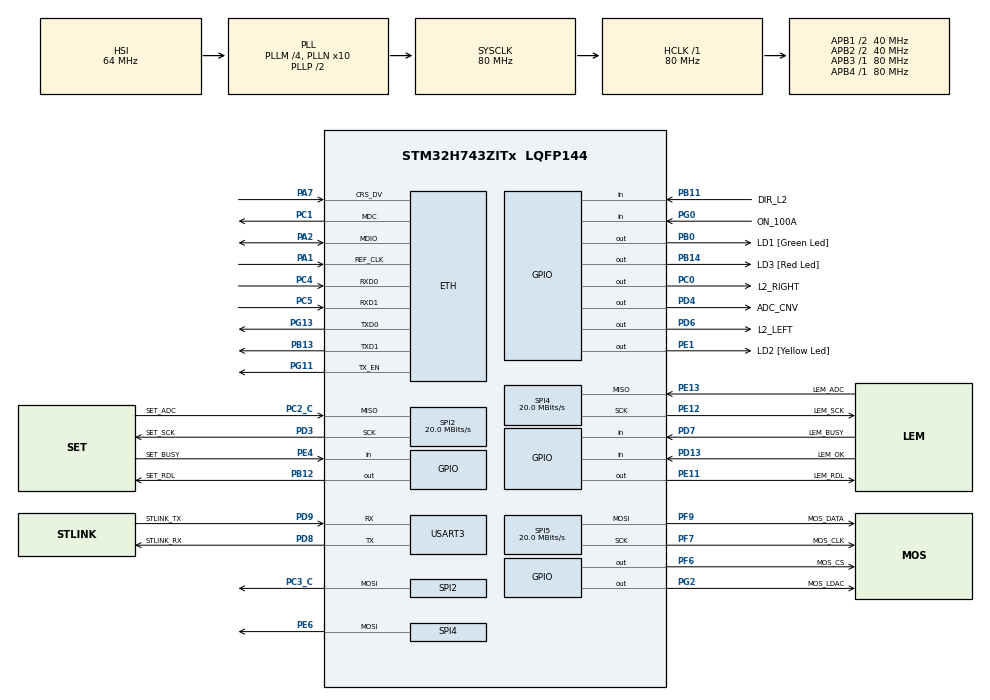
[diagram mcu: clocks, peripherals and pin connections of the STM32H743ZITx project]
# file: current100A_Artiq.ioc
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CORTEX_M7.AccessPermission-Cortex_Memory_Protection_Unit_Region0_Settings=MPU_REGION_FULL_ACCESS
CORTEX_M7.AccessPermission-Cortex_Memory_Protection_Unit_Region1_Settings=MPU_REGION_FULL_ACCESS
CORTEX_M7.BaseAddress-Cortex_Memory_Protection_Unit_Region0_Settings=0x30040000
CORTEX_M7.BaseAddress-Cortex_Memory_Protection_Unit_Region1_Settings=0x30044000
CORTEX_M7.CPU_DCache=Enabled
CORTEX_M7.CPU_ICache=Enabled
CORTEX_M7.Enable-Cortex_Memory_Protection_Unit_Region0_Settings=MPU_REGION_ENABLE
CORTEX_M7.Enable-Cortex_Memory_Protection_Unit_Region1_Settings=MPU_REGION_ENABLE
CORTEX_M7.IsBufferable-Cortex_Memory_Protection_Unit_Region0_Settings=MPU_ACCESS_BUFFERABLE
CORTEX_M7.IsShareable-Cortex_Memory_Protection_Unit_Region1_Settings=MPU_ACCESS_SHAREABLE
CORTEX_M7.MPU_Control=MPU_PRIVILEGED_DEFAULT
CORTEX_M7.Size-Cortex_Memory_Protection_Unit_Region0_Settings=MPU_REGION_SIZE_256B
CORTEX_M7.Size-Cortex_Memory_Protection_Unit_Region1_Settings=MPU_REGION_SIZE_16KB
CORTEX_M7.TypeExtField-Cortex_Memory_Protection_Unit_Region1_Settings=MPU_TEX_LEVEL1
ETH.MACAddr=02\:00\:00\:03\:00\:88
ETH.MediaInterface=HAL_ETH_RMII_MODE
ETH.RxBuffAddress=0x30040200
LWIP.BSP.number=1
LWIP.GATEWAY_ADDRESS=000.000.000.000
LWIP.IP_ADDRESS=192.168.001.020
LWIP.LWIP_DHCP=0
LWIP.NETMASK_ADDRESS=255.255.255.000
LWIP.Version=v2.1.2_Cube
LWIP0.BSP.STBoard=false
LWIP0.BSP.api=BSP_COMPONENT_DRIVER
LWIP0.BSP.component=LAN8742
LWIP0.BSP.instance=LAN8742
LWIP0.BSP.name=Driver_PHY
LWIP0.BSP.solution=LAN8742
Mcu.Family=STM32H7
Mcu.Name=STM32H743ZITx
Mcu.Package=LQFP144
NVIC.ETH_IRQn=true\:5\:0\:true\:false\:true\:true\:true\:true
NVIC.PriorityGroup=NVIC_PRIORITYGROUP_4
NVIC.TIM6_DAC_IRQn=true\:15\:0\:false\:false\:true\:false\:true\:true
NVIC.TIM7_IRQn=true\:0\:0\:false\:false\:true\:true\:true\:true
NVIC.TimeBase=TIM6_DAC_IRQn
NVIC.TimeBaseIP=TIM6
PA1.GPIO_Speed=GPIO_SPEED_FREQ_HIGH
PA1.Mode=RMII
PA1.Signal=ETH_REF_CLK
PA2.GPIO_Speed=GPIO_SPEED_FREQ_HIGH
PA2.Mode=RMII
PA2.Signal=ETH_MDIO
PA7.GPIO_Speed=GPIO_SPEED_FREQ_HIGH
PA7.Mode=RMII
PA7.Signal=ETH_CRS_DV
PB0.GPIO_Label=LD1 [Green Led]
PB0.GPIO_Speed=GPIO_SPEED_FREQ_VERY_HIGH
PB0.Signal=GPIO_Output
PB11.GPIO_Label=DIR_L2
PB11.GPIO_PuPd=GPIO_PULLDOWN
PB11.Signal=GPIO_Input
PB12.GPIO_Label=SET_RDL
PB12.Signal=GPIO_Output
PB13.GPIO_Speed=GPIO_SPEED_FREQ_HIGH
PB13.Mode=RMII
PB13.Signal=ETH_TXD1
PB14.GPIO_Label=LD3 [Red Led]
PB14.GPIO_Speed=GPIO_SPEED_FREQ_VERY_HIGH
PB14.Signal=GPIO_Output
PC0.GPIO_Label=L2_RIGHT
PC0.Signal=GPIO_Output
PC1.GPIO_Speed=GPIO_SPEED_FREQ_HIGH
PC1.Mode=RMII
PC1.Signal=ETH_MDC
PC14-OSC32_IN\ (OSC32_IN).Mode=LSE-External-Clock-Source
PC14-OSC32_IN\ (OSC32_IN).Signal=RCC_OSC32_IN
PC2_C.GPIO_Label=SET_ADC
PC2_C.Mode=Full_Duplex_Master
PC2_C.Signal=SPI2_MISO
PC3_C.Mode=Full_Duplex_Master
PC3_C.Signal=SPI2_MOSI
PC4.GPIO_Speed=GPIO_SPEED_FREQ_HIGH
PC4.Mode=RMII
PC4.Signal=ETH_RXD0
PC5.GPIO_Speed=GPIO_SPEED_FREQ_HIGH
PC5.Mode=RMII
PC5.Signal=ETH_RXD1
PD13.GPIO_Label=LEM_OK
PD13.Signal=GPIO_Input
PD3.GPIO_Label=SET_SCK
PD3.Mode=Full_Duplex_Master
PD3.Signal=SPI2_SCK
PD4.GPIO_Label=ADC_CNV
PD4.Signal=GPIO_Output
PD6.GPIO_Label=L2_LEFT
PD6.Signal=GPIO_Output
PD7.GPIO_Label=LEM_BUSY
PD7.Signal=GPIO_Input
PD8.GPIO_Label=STLINK_RX
PD8.GPIO_Speed=GPIO_SPEED_FREQ_HIGH
PD8.Mode=Asynchronous
PD8.Signal=USART3_TX
PD9.GPIO_Label=STLINK_TX
PD9.GPIO_Speed=GPIO_SPEED_FREQ_HIGH
PD9.Mode=Asynchronous
PD9.Signal=USART3_RX
PE1.GPIO_Label=LD2 [Yellow Led]
PE1.GPIO_Speed=GPIO_SPEED_FREQ_VERY_HIGH
PE1.Signal=GPIO_Output
PE11.GPIO_Label=LEM_RDL
PE11.Signal=GPIO_Output
PE12.GPIO_Label=LEM_SCK
PE12.Mode=Full_Duplex_Master
PE12.Signal=SPI4_SCK
PE13.GPIO_Label=LEM_ADC
PE13.Mode=Full_Duplex_Master
PE13.Signal=SPI4_MISO
PE4.GPIO_Label=SET_BUSY
PE4.Signal=GPIO_Input
PE6.Mode=Full_Duplex_Master
PE6.Signal=SPI4_MOSI
PF6.GPIO_Label=MOS_CS
PF6.Signal=GPIO_Output
PF7.GPIO_Label=MOS_CLK
PF7.Mode=TX_Only_Simplex_Unidirect_Master
PF7.Signal=SPI5_SCK
PF9.GPIO_Label=MOS_DATA
PF9.Mode=TX_Only_Simplex_Unidirect_Master
PF9.Signal=SPI5_MOSI
PG0.GPIO_Label=ON_100A
PG0.GPIO_PuPd=GPIO_PULLDOWN
PG0.Signal=GPIO_Input
PG11.GPIO_Speed=GPIO_SPEED_FREQ_HIGH
PG11.Mode=RMII
PG11.Signal=ETH_TX_EN
PG13.GPIO_Speed=GPIO_SPEED_FREQ_HIGH
PG13.Mode=RMII
PG13.Signal=ETH_TXD0
PG2.GPIO_Label=MOS_LDAC
PG2.Signal=GPIO_Output
PH0-OSC_IN\ (PH0).Signal=RCC_OSC_IN
ProjectManager.HeapSize=0x200
ProjectManager.StackSize=0x400
ProjectManager.TargetToolchain=STM32CubeIDE
RCC.ADCFreq_Value=150000000
RCC.APB1Freq_Value=40000000
RCC.APB2Freq_Value=40000000
RCC.APB3Freq_Value=80000000
RCC.APB4Freq_Value=80000000
RCC.CortexFreq_Value=80000000
RCC.D2PPRE1=RCC_APB1_DIV2
RCC.D2PPRE2=RCC_APB2_DIV2
RCC.DIVM1=4
RCC.DIVM2=4
RCC.DIVN1=10
RCC.DIVN2=9
RCC.DIVP2=1
RCC.HCLKFreq_Value=80000000
RCC.HSE_VALUE=8000000
RCC.PLL2FRACN=3072
RCC.PLL3FRACN=0
RCC.PLLFRACN=0
RCC.SYSCLKFreq_VALUE=80000000
RCC.SYSCLKSource=RCC_SYSCLKSOURCE_PLLCLK
RCC.USBFreq_Value=80000000
SPI2.BaudRatePrescaler=SPI_BAUDRATEPRESCALER_4
SPI2.CalculateBaudRate=20.0 MBits/s
SPI2.DataSize=SPI_DATASIZE_8BIT
SPI2.Direction=SPI_DIRECTION_2LINES
SPI2.Mode=SPI_MODE_MASTER
SPI2.VirtualType=VM_MASTER
SPI4.CalculateBaudRate=20.0 MBits/s
SPI4.DataSize=SPI_DATASIZE_8BIT
SPI4.Direction=SPI_DIRECTION_2LINES
SPI4.Mode=SPI_MODE_MASTER
SPI4.VirtualType=VM_MASTER
SPI5.CalculateBaudRate=20.0 MBits/s
SPI5.DataSize=SPI_DATASIZE_8BIT
SPI5.Direction=SPI_DIRECTION_2LINES_TXONLY
SPI5.Mode=SPI_MODE_MASTER
SPI5.VirtualType=VM_MASTER
TIM7.Period=150
TIM7.Prescaler=79
USART3.VirtualMode-Asynchronous=VM_ASYNC
VP_LWIP_VS_Enabled.Mode=Enabled
VP_SYS_VS_tim6.Mode=TIM6
VP_TIM7_VS_ClockSourceINT.Mode=Enable_Timer
board=NUCLEO-H743ZI2

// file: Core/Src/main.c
/* USER CODE BEGIN Header */
/**
  ******************************************************************************
  * @file           : main.c
  * @brief          : Main program body
  ******************************************************************************
  * @attention
  *
  * Copyright (c) 2022 STMicroelectronics.
  * All rights reserved.
  *
  * This software is licensed under terms that can be found in the LICENSE file
  * in the root directory of this software component.
  * If no LICENSE file comes with this software, it is provided AS-IS.
  *
  ******************************************************************************
  */
/* USER CODE END Header */
#include "main.h"
#include "lwip.h"

/* USER CODE BEGIN Includes */
//#include "lwip/sockets.h"          <----
//#include <string.h>
#include "tcpServerRAW.h"
//#include "tcpClientRAW.h"
#include "interface.h"
//#include <stdio.h>
//#include <stdlib.h>
/* USER CODE END Includes */

/* USER CODE BEGIN PD */
#define FLASH_PARAM_START_ADDR  ((uint32_t)0x081E0000)  // bank 2, sektor 7
#define FLASH_GTAB_START_ADDR  ((uint32_t)0x081C0000)  // bank 2, sektor 6
#define FLASH_WORD_SIZE        (32)  // Flash word = 256-bit = 32 bytes
#define GTAB_SIZE 				1000 // size of gate-current caracteristic table
/* USER CODE END PD */

SPI_HandleTypeDef hspi2;
SPI_HandleTypeDef hspi4;
SPI_HandleTypeDef hspi5;

TIM_HandleTypeDef htim7;

UART_HandleTypeDef huart3;

/* USER CODE BEGIN PV */

char spi_buf_set[50], spi_buf_lem[50], spi_buf_mos[50];
double v_ref = 4.0;
const double LSB_ADC = (2 * 4.0)/pow(2, 24);
const uint32_t HALF_CODE = pow(2,24)/2;
const double LSB_DAC = 4.0/pow(2, 20);
double lem_v = 0;
double lem_A = 0;
double set_v = 0;
double set_dir = 1;
double in_set_v = 0;
double set_A = 0;
double last_set_A = 0;
double tmp_set_A = 0;
double mos_v = 0;
double err = 0;
// double acc_err = 0;
double pid_out = 0;
double fixed_pid_out = 0;
double I = 0;
double vgs = 1;
int is_last_gtab_zero = 0;
int is_new_set_A = 0;
int calib_cycles_cnt = 0;
double calib_i_cnt = 0;
double mode_tmp = 0;
double last_conf_cp = 150;
double last_adc_lem = 0;
double last_adc_set = 0;

static inline int wait_lem_ready(void);
static inline int wait_set_ready(void);
static inline void delay_cycles(volatile uint32_t);
void adapt_g_tab(int idx, double delta_vg);
void update_direction_from_ttl_if_safe(void);
double get_adc_lem();
double get_adc_set();
double get_set_V();
double get_set_A();
double get_lem_A();
int need_change_sign = 0;
void set_dac_mos(double dac);
void send_single_adc_cnv();
void send_adc_cnvs(int n);

double g_tab[GTAB_SIZE]; // gate-current caracteristic table

void Flash_Write_Array(uint32_t address, double *data, uint32_t size) {
    HAL_FLASH_Unlock();

    FLASH_EraseInitTypeDef eraseInitStruct;
    uint32_t sectorError;

    // Erase the required flash sector
    eraseInitStruct.TypeErase    = FLASH_TYPEERASE_SECTORS;
    eraseInitStruct.Banks        = FLASH_BANK_2;
    eraseInitStruct.Sector       = FLASH_SECTOR_6;
    eraseInitStruct.NbSectors    = 1;
    eraseInitStruct.VoltageRange = FLASH_VOLTAGE_RANGE_3;

    if (HAL_FLASHEx_Erase(&eraseInitStruct, &sectorError) != HAL_OK) {
        HAL_FLASH_Lock();
        return;  // Error erasing
    }

    // Save data to flash memory in 256-bit blocks
    uint64_t flash_word[4];  // 32 bajty = 4 x 64-bit double
    for (uint32_t i = 0; i < size; i += 4) {  // Co 4 wartości (bo każda ma 8 bajtów)
        flash_word[0] = (i < size) ? ((uint64_t*)data)[i] : 0xFFFFFFFFFFFFFFFF;
        flash_word[1] = (i + 1 < size) ? ((uint64_t*)data)[i + 1] : 0xFFFFFFFFFFFFFFFF;
        flash_word[2] = (i + 2 < size) ? ((uint64_t*)data)[i + 2] : 0xFFFFFFFFFFFFFFFF;
        flash_word[3] = (i + 3 < size) ? ((uint64_t*)data)[i + 3] : 0xFFFFFFFFFFFFFFFF;

        if (HAL_FLASH_Program(FLASH_TYPEPROGRAM_FLASHWORD, address + i * 8, (uint64_t)flash_word) != HAL_OK) {
            HAL_FLASH_Lock();
            return;  // Save error
        }
    }

    HAL_FLASH_Lock();
}

void Flash_Read_Array(uint32_t address, double *data, uint32_t size) {
    uint64_t *flash_ptr = (uint64_t*)address; // pointer to flash memory

    for (uint32_t i = 0; i < size; i++) {
        data[i] = *(volatile double*)&flash_ptr[i];
    }
}

void Flash_Write_Params(uint32_t address, parameters *data) {
    HAL_FLASH_Unlock();  // unlock flash

    FLASH_EraseInitTypeDef eraseInitStruct;
    uint32_t sectorError;

    // erase sector before writing
    eraseInitStruct.TypeErase    = FLASH_TYPEERASE_SECTORS;
    eraseInitStruct.Banks        = FLASH_BANK_2;  // **Bank 2**
    eraseInitStruct.Sector       = FLASH_SECTOR_7;  // **Sector 7**
    eraseInitStruct.NbSectors    = 1;
    eraseInitStruct.VoltageRange = FLASH_VOLTAGE_RANGE_3;

    if (HAL_FLASHEx_Erase(&eraseInitStruct, &sectorError) != HAL_OK) {
        HAL_FLASH_Lock();
        return;  // error erasing
    }

    uint64_t *data_ptr = (uint64_t*)data;

    uint64_t flash_word[4];
    for (uint32_t i = 0; i < sizeof(parameters) / 8; i += 4) {
        flash_word[0] = (i < sizeof(parameters) / 8) ? data_ptr[i] : 0xFFFFFFFFFFFFFFFF;
        flash_word[1] = (i + 1 < sizeof(parameters) / 8) ? data_ptr[i + 1] : 0xFFFFFFFFFFFFFFFF;
        flash_word[2] = (i + 2 < sizeof(parameters) / 8) ? data_ptr[i + 2] : 0xFFFFFFFFFFFFFFFF;
        flash_word[3] = (i + 3 < sizeof(parameters) / 8) ? data_ptr[i + 3] : 0xFFFFFFFFFFFFFFFF;

        if (HAL_FLASH_Program(FLASH_TYPEPROGRAM_FLASHWORD, address + i * 8, (uint64_t)flash_word) != HAL_OK) {
            HAL_FLASH_Lock();
            return;  // Error writing
        }
    }

    HAL_FLASH_Lock();  // Lock flash after writing
}

void Flash_Read_Params(uint32_t address, parameters *data) {
    memcpy(data, (void*)address, sizeof(parameters));  // Read parameters from flash
}

uint32_t Flash_Read_Version(uint32_t address) {
    return *(volatile double*)address;  // Read first 4 bytes as version
}

/* USER CODE END PV */

void SystemClock_Config(void);
static void MPU_Config(void);
static void MX_GPIO_Init(void);
static void MX_USART3_UART_Init(void);
static void MX_TIM7_Init(void);
static void MX_SPI2_Init(void);
static void MX_SPI4_Init(void);
static void MX_SPI5_Init(void);

/* USER CODE BEGIN 0 */

extern struct netif gnetif;
extern parameters par;
int32_t raw;
/* USER CODE END 0 */

int main(void)
{

  /* MPU Configuration--------------------------------------------------------*/
  MPU_Config();

  /* Enable I-Cache---------------------------------------------------------*/
  SCB_EnableICache();

  /* Enable D-Cache---------------------------------------------------------*/
  SCB_EnableDCache();

  /* MCU Configuration--------------------------------------------------------*/

  /* Reset of all peripherals, Initializes the Flash interface and the Systick. */
  HAL_Init();

  /* Configure the system clock */
  SystemClock_Config();

  /* USER CODE BEGIN SysInit */
  HAL_Delay(500);
  /* USER CODE END SysInit */

  /* Initialize all configured peripherals */
  MX_GPIO_Init();
  MX_USART3_UART_Init();
  MX_LWIP_Init();
  MX_TIM7_Init();
  MX_SPI2_Init();
  MX_SPI4_Init();
  MX_SPI5_Init();
  /* USER CODE BEGIN 2 */

  // tcp_server_init();
  //tcp_client_init();
  // HAL_Delay(2000);
  tcp_server_init();
  initInterface();

  // read par from flash
  if (par.version != Flash_Read_Version(FLASH_PARAM_START_ADDR)){
    Flash_Write_Params(FLASH_PARAM_START_ADDR, &par);
  }
  else{
    Flash_Read_Params(FLASH_PARAM_START_ADDR, &par);
  }

  // read g_tab from flash
  Flash_Read_Array(FLASH_GTAB_START_ADDR, g_tab, GTAB_SIZE);

  // par.calib.val = 4; // lem_A calibration

  HAL_GPIO_WritePin(LEM_RDL_GPIO_Port, LEM_RDL_Pin, GPIO_PIN_SET);
  HAL_GPIO_WritePin(ADC_CNV_GPIO_Port, ADC_CNV_Pin, GPIO_PIN_RESET);
  HAL_GPIO_WritePin(LD1_GPIO_Port, LD1_Pin, GPIO_PIN_RESET);

  last_conf_cp = par.conf.cp.val;
  __HAL_TIM_SET_AUTORELOAD(&htim7, (uint32_t)par.conf.cp.val);
  __HAL_TIM_SET_COUNTER(&htim7, 0);
  HAL_TIM_Base_Start_IT(&htim7);

  /* USER CODE END 2 */

  /* Infinite loop */
  while (1)
  {

    /* USER CODE BEGIN 3 */
	  ethernetif_input(&gnetif);
	  sys_check_timeouts();
    if (par.save.val == 1){
      par.save.val = 0;
      Flash_Write_Params(FLASH_PARAM_START_ADDR, &par);
    }
    if (par.load.val == 1){
      par.load.val = 0;
      Flash_Read_Params(FLASH_PARAM_START_ADDR, &par);
    }
    if (par.veread.val == 1){
      par.veread.val = 0;
      par.ver.val = (double)Flash_Read_Version(FLASH_PARAM_START_ADDR);
    }
    if (par.conf.cp.val != last_conf_cp){
      uint32_t cp = (uint32_t)par.conf.cp.val;
      HAL_TIM_Base_Stop_IT(&htim7);
      __HAL_TIM_SET_AUTORELOAD(&htim7, cp);
      __HAL_TIM_SET_COUNTER(&htim7, 0);
      HAL_TIM_Base_Start_IT(&htim7);
      last_conf_cp = par.conf.cp.val;
    }

	}
  /* USER CODE END 3 */
}

void SystemClock_Config(void)
{
  RCC_OscInitTypeDef RCC_OscInitStruct = {0};
  RCC_ClkInitTypeDef RCC_ClkInitStruct = {0};

  /** Supply configuration update enable
  */
  HAL_PWREx_ConfigSupply(PWR_LDO_SUPPLY);
  /** Configure the main internal regulator output voltage
  */
  __HAL_PWR_VOLTAGESCALING_CONFIG(PWR_REGULATOR_VOLTAGE_SCALE3);

  while(!__HAL_PWR_GET_FLAG(PWR_FLAG_VOSRDY)) {}
  /** Initializes the RCC Oscillators according to the specified parameters
  * in the RCC_OscInitTypeDef structure.
  */
  RCC_OscInitStruct.OscillatorType = RCC_OSCILLATORTYPE_HSI;
  RCC_OscInitStruct.HSIState = RCC_HSI_DIV1;
  RCC_OscInitStruct.HSICalibrationValue = RCC_HSICALIBRATION_DEFAULT;
  RCC_OscInitStruct.PLL.PLLState = RCC_PLL_ON;
  RCC_OscInitStruct.PLL.PLLSource = RCC_PLLSOURCE_HSI;
  RCC_OscInitStruct.PLL.PLLM = 4;
  RCC_OscInitStruct.PLL.PLLN = 10;
  RCC_OscInitStruct.PLL.PLLP = 2;
  RCC_OscInitStruct.PLL.PLLQ = 2;
  RCC_OscInitStruct.PLL.PLLR = 2;
  RCC_OscInitStruct.PLL.PLLRGE = RCC_PLL1VCIRANGE_3;
  RCC_OscInitStruct.PLL.PLLVCOSEL = RCC_PLL1VCOMEDIUM;
  RCC_OscInitStruct.PLL.PLLFRACN = 0;
  if (HAL_RCC_OscConfig(&RCC_OscInitStruct) != HAL_OK)
  {
    Error_Handler();
  }
  /** Initializes the CPU, AHB and APB buses clocks
  */
  RCC_ClkInitStruct.ClockType = RCC_CLOCKTYPE_HCLK|RCC_CLOCKTYPE_SYSCLK
                              |RCC_CLOCKTYPE_PCLK1|RCC_CLOCKTYPE_PCLK2
                              |RCC_CLOCKTYPE_D3PCLK1|RCC_CLOCKTYPE_D1PCLK1;
  RCC_ClkInitStruct.SYSCLKSource = RCC_SYSCLKSOURCE_PLLCLK;
  RCC_ClkInitStruct.SYSCLKDivider = RCC_SYSCLK_DIV1;
  RCC_ClkInitStruct.AHBCLKDivider = RCC_HCLK_DIV1;
  RCC_ClkInitStruct.APB3CLKDivider = RCC_APB3_DIV1;
  RCC_ClkInitStruct.APB1CLKDivider = RCC_APB1_DIV2;
  RCC_ClkInitStruct.APB2CLKDivider = RCC_APB2_DIV2;
  RCC_ClkInitStruct.APB4CLKDivider = RCC_APB4_DIV1;

  if (HAL_RCC_ClockConfig(&RCC_ClkInitStruct, FLASH_LATENCY_1) != HAL_OK)
  {
    Error_Handler();
  }
}

static void MX_SPI2_Init(void)
{

  /* SPI2 parameter configuration*/
  hspi2.Instance = SPI2;
  hspi2.Init.Mode = SPI_MODE_MASTER;
  hspi2.Init.Direction = SPI_DIRECTION_2LINES;
  hspi2.Init.DataSize = SPI_DATASIZE_8BIT;
  hspi2.Init.CLKPolarity = SPI_POLARITY_LOW;
  hspi2.Init.CLKPhase = SPI_PHASE_1EDGE;
  hspi2.Init.NSS = SPI_NSS_SOFT;
  hspi2.Init.BaudRatePrescaler = SPI_BAUDRATEPRESCALER_4;
  hspi2.Init.FirstBit = SPI_FIRSTBIT_MSB;
  hspi2.Init.TIMode = SPI_TIMODE_DISABLE;
  hspi2.Init.CRCCalculation = SPI_CRCCALCULATION_DISABLE;
  hspi2.Init.CRCPolynomial = 0x0;
  hspi2.Init.NSSPMode = SPI_NSS_PULSE_ENABLE;
  hspi2.Init.NSSPolarity = SPI_NSS_POLARITY_LOW;
  hspi2.Init.FifoThreshold = SPI_FIFO_THRESHOLD_01DATA;
  hspi2.Init.TxCRCInitializationPattern = SPI_CRC_INITIALIZATION_ALL_ZERO_PATTERN;
  hspi2.Init.RxCRCInitializationPattern = SPI_CRC_INITIALIZATION_ALL_ZERO_PATTERN;
  hspi2.Init.MasterSSIdleness = SPI_MASTER_SS_IDLENESS_00CYCLE;
  hspi2.Init.MasterInterDataIdleness = SPI_MASTER_INTERDATA_IDLENESS_00CYCLE;
  hspi2.Init.MasterReceiverAutoSusp = SPI_MASTER_RX_AUTOSUSP_DISABLE;
  hspi2.Init.MasterKeepIOState = SPI_MASTER_KEEP_IO_STATE_DISABLE;
  hspi2.Init.IOSwap = SPI_IO_SWAP_DISABLE;
  if (HAL_SPI_Init(&hspi2) != HAL_OK)
  {
    Error_Handler();
  }

}

static void MX_SPI4_Init(void)
{

  /* SPI4 parameter configuration*/
  hspi4.Instance = SPI4;
  hspi4.Init.Mode = SPI_MODE_MASTER;
  hspi4.Init.Direction = SPI_DIRECTION_2LINES;
  hspi4.Init.DataSize = SPI_DATASIZE_8BIT;
  hspi4.Init.CLKPolarity = SPI_POLARITY_LOW;
  hspi4.Init.CLKPhase = SPI_PHASE_1EDGE;
  hspi4.Init.NSS = SPI_NSS_SOFT;
  hspi4.Init.BaudRatePrescaler = SPI_BAUDRATEPRESCALER_2;
  hspi4.Init.FirstBit = SPI_FIRSTBIT_MSB;
  hspi4.Init.TIMode = SPI_TIMODE_DISABLE;
  hspi4.Init.CRCCalculation = SPI_CRCCALCULATION_DISABLE;
  hspi4.Init.CRCPolynomial = 0x0;
  hspi4.Init.NSSPMode = SPI_NSS_PULSE_ENABLE;
  hspi4.Init.NSSPolarity = SPI_NSS_POLARITY_LOW;
  hspi4.Init.FifoThreshold = SPI_FIFO_THRESHOLD_01DATA;
  hspi4.Init.TxCRCInitializationPattern = SPI_CRC_INITIALIZATION_ALL_ZERO_PATTERN;
  hspi4.Init.RxCRCInitializationPattern = SPI_CRC_INITIALIZATION_ALL_ZERO_PATTERN;
  hspi4.Init.MasterSSIdleness = SPI_MASTER_SS_IDLENESS_00CYCLE;
  hspi4.Init.MasterInterDataIdleness = SPI_MASTER_INTERDATA_IDLENESS_00CYCLE;
  hspi4.Init.MasterReceiverAutoSusp = SPI_MASTER_RX_AUTOSUSP_DISABLE;
  hspi4.Init.MasterKeepIOState = SPI_MASTER_KEEP_IO_STATE_DISABLE;
  hspi4.Init.IOSwap = SPI_IO_SWAP_DISABLE;
  if (HAL_SPI_Init(&hspi4) != HAL_OK)
  {
    Error_Handler();
  }

}

static void MX_SPI5_Init(void)
{

  /* SPI5 parameter configuration*/
  hspi5.Instance = SPI5;
  hspi5.Init.Mode = SPI_MODE_MASTER;
  hspi5.Init.Direction = SPI_DIRECTION_2LINES_TXONLY;
  hspi5.Init.DataSize = SPI_DATASIZE_8BIT;
  hspi5.Init.CLKPolarity = SPI_POLARITY_LOW;
  hspi5.Init.CLKPhase = SPI_PHASE_1EDGE;
  hspi5.Init.NSS = SPI_NSS_SOFT;
  hspi5.Init.BaudRatePrescaler = SPI_BAUDRATEPRESCALER_2;
  hspi5.Init.FirstBit = SPI_FIRSTBIT_MSB;
  hspi5.Init.TIMode = SPI_TIMODE_DISABLE;
  hspi5.Init.CRCCalculation = SPI_CRCCALCULATION_DISABLE;
  hspi5.Init.CRCPolynomial = 0x0;
  hspi5.Init.NSSPMode = SPI_NSS_PULSE_ENABLE;
  hspi5.Init.NSSPolarity = SPI_NSS_POLARITY_LOW;
  hspi5.Init.FifoThreshold = SPI_FIFO_THRESHOLD_01DATA;
  hspi5.Init.TxCRCInitializationPattern = SPI_CRC_INITIALIZATION_ALL_ZERO_PATTERN;
  hspi5.Init.RxCRCInitializationPattern = SPI_CRC_INITIALIZATION_ALL_ZERO_PATTERN;
  hspi5.Init.MasterSSIdleness = SPI_MASTER_SS_IDLENESS_00CYCLE;
  hspi5.Init.MasterInterDataIdleness = SPI_MASTER_INTERDATA_IDLENESS_00CYCLE;
  hspi5.Init.MasterReceiverAutoSusp = SPI_MASTER_RX_AUTOSUSP_DISABLE;
  hspi5.Init.MasterKeepIOState = SPI_MASTER_KEEP_IO_STATE_DISABLE;
  hspi5.Init.IOSwap = SPI_IO_SWAP_DISABLE;
  if (HAL_SPI_Init(&hspi5) != HAL_OK)
  {
    Error_Handler();
  }

}

static void MX_TIM7_Init(void)
{

  TIM_MasterConfigTypeDef sMasterConfig = {0};

  htim7.Instance = TIM7;
  htim7.Init.Prescaler = 79;
  htim7.Init.CounterMode = TIM_COUNTERMODE_UP;
  htim7.Init.Period = 150;
  htim7.Init.AutoReloadPreload = TIM_AUTORELOAD_PRELOAD_DISABLE;
  if (HAL_TIM_Base_Init(&htim7) != HAL_OK)
  {
    Error_Handler();
  }
  sMasterConfig.MasterOutputTrigger = TIM_TRGO_RESET;
  sMasterConfig.MasterSlaveMode = TIM_MASTERSLAVEMODE_DISABLE;
  if (HAL_TIMEx_MasterConfigSynchronization(&htim7, &sMasterConfig) != HAL_OK)
  {
    Error_Handler();
  }

}

static void MX_USART3_UART_Init(void)
{

  huart3.Instance = USART3;
  huart3.Init.BaudRate = 115200;
  huart3.Init.WordLength = UART_WORDLENGTH_8B;
  huart3.Init.StopBits = UART_STOPBITS_1;
  huart3.Init.Parity = UART_PARITY_NONE;
  huart3.Init.Mode = UART_MODE_TX_RX;
  huart3.Init.HwFlowCtl = UART_HWCONTROL_NONE;
  huart3.Init.OverSampling = UART_OVERSAMPLING_16;
  huart3.Init.OneBitSampling = UART_ONE_BIT_SAMPLE_DISABLE;
  huart3.Init.ClockPrescaler = UART_PRESCALER_DIV1;
  huart3.AdvancedInit.AdvFeatureInit = UART_ADVFEATURE_NO_INIT;
  if (HAL_UART_Init(&huart3) != HAL_OK)
  {
    Error_Handler();
  }
  if (HAL_UARTEx_SetTxFifoThreshold(&huart3, UART_TXFIFO_THRESHOLD_1_8) != HAL_OK)
  {
    Error_Handler();
  }
  if (HAL_UARTEx_SetRxFifoThreshold(&huart3, UART_RXFIFO_THRESHOLD_1_8) != HAL_OK)
  {
    Error_Handler();
  }
  if (HAL_UARTEx_DisableFifoMode(&huart3) != HAL_OK)
  {
    Error_Handler();
  }

}

static void MX_GPIO_Init(void)
{
  GPIO_InitTypeDef GPIO_InitStruct = {0};

  /* GPIO Ports Clock Enable */
  __HAL_RCC_GPIOE_CLK_ENABLE();
  __HAL_RCC_GPIOC_CLK_ENABLE();
  __HAL_RCC_GPIOF_CLK_ENABLE();
  __HAL_RCC_GPIOH_CLK_ENABLE();
  __HAL_RCC_GPIOA_CLK_ENABLE();
  __HAL_RCC_GPIOB_CLK_ENABLE();
  __HAL_RCC_GPIOG_CLK_ENABLE();
  __HAL_RCC_GPIOD_CLK_ENABLE();

  /*Configure GPIO pin Output Level */
  HAL_GPIO_WritePin(MOS_CS_GPIO_Port, MOS_CS_Pin, GPIO_PIN_RESET);

  /*Configure GPIO pin Output Level */
  HAL_GPIO_WritePin(L2_RIGHT_GPIO_Port, L2_RIGHT_Pin, GPIO_PIN_RESET);

  /*Configure GPIO pin Output Level */
  HAL_GPIO_WritePin(GPIOB, LD1_Pin|SET_RDL_Pin|LD3_Pin, GPIO_PIN_RESET);

  /*Configure GPIO pin Output Level */
  HAL_GPIO_WritePin(GPIOE, LEM_RDL_Pin|LD2_Pin, GPIO_PIN_RESET);

  /*Configure GPIO pin Output Level */
  HAL_GPIO_WritePin(MOS_LDAC_GPIO_Port, MOS_LDAC_Pin, GPIO_PIN_RESET);

  /*Configure GPIO pin Output Level */
  HAL_GPIO_WritePin(GPIOD, ADC_CNV_Pin|L2_LEFT_Pin, GPIO_PIN_RESET);

  /*Configure GPIO pin : SET_BUSY_Pin */
  GPIO_InitStruct.Pin = SET_BUSY_Pin;
  GPIO_InitStruct.Mode = GPIO_MODE_INPUT;
  GPIO_InitStruct.Pull = GPIO_NOPULL;
  HAL_GPIO_Init(SET_BUSY_GPIO_Port, &GPIO_InitStruct);

  /*Configure GPIO pin : MOS_CS_Pin */
  GPIO_InitStruct.Pin = MOS_CS_Pin;
  GPIO_InitStruct.Mode = GPIO_MODE_OUTPUT_PP;
  GPIO_InitStruct.Pull = GPIO_NOPULL;
  GPIO_InitStruct.Speed = GPIO_SPEED_FREQ_LOW;
  HAL_GPIO_Init(MOS_CS_GPIO_Port, &GPIO_InitStruct);

  /*Configure GPIO pin : L2_RIGHT_Pin */
  GPIO_InitStruct.Pin = L2_RIGHT_Pin;
  GPIO_InitStruct.Mode = GPIO_MODE_OUTPUT_PP;
  GPIO_InitStruct.Pull = GPIO_NOPULL;
  GPIO_InitStruct.Speed = GPIO_SPEED_FREQ_LOW;
  HAL_GPIO_Init(L2_RIGHT_GPIO_Port, &GPIO_InitStruct);

  /*Configure GPIO pins : LD1_Pin LD3_Pin */
  GPIO_InitStruct.Pin = LD1_Pin|LD3_Pin;
  GPIO_InitStruct.Mode = GPIO_MODE_OUTPUT_PP;
  GPIO_InitStruct.Pull = GPIO_NOPULL;
  GPIO_InitStruct.Speed = GPIO_SPEED_FREQ_VERY_HIGH;
  HAL_GPIO_Init(GPIOB, &GPIO_InitStruct);

  /*Configure GPIO pin : ON_100A_Pin */
  GPIO_InitStruct.Pin = ON_100A_Pin;
  GPIO_InitStruct.Mode = GPIO_MODE_INPUT;
  GPIO_InitStruct.Pull = GPIO_PULLDOWN;
  HAL_GPIO_Init(ON_100A_GPIO_Port, &GPIO_InitStruct);

  /*Configure GPIO pin : LEM_RDL_Pin */
  GPIO_InitStruct.Pin = LEM_RDL_Pin;
  GPIO_InitStruct.Mode = GPIO_MODE_OUTPUT_PP;
  GPIO_InitStruct.Pull = GPIO_NOPULL;
  GPIO_InitStruct.Speed = GPIO_SPEED_FREQ_LOW;
  HAL_GPIO_Init(LEM_RDL_GPIO_Port, &GPIO_InitStruct);

  /*Configure GPIO pin : DIR_L2_Pin */
  GPIO_InitStruct.Pin = DIR_L2_Pin;
  GPIO_InitStruct.Mode = GPIO_MODE_INPUT;
  GPIO_InitStruct.Pull = GPIO_PULLDOWN;
  HAL_GPIO_Init(DIR_L2_GPIO_Port, &GPIO_InitStruct);

  /*Configure GPIO pin : SET_RDL_Pin */
  GPIO_InitStruct.Pin = SET_RDL_Pin;
  GPIO_InitStruct.Mode = GPIO_MODE_OUTPUT_PP;
  GPIO_InitStruct.Pull = GPIO_NOPULL;
  GPIO_InitStruct.Speed = GPIO_SPEED_FREQ_LOW;
  HAL_GPIO_Init(SET_RDL_GPIO_Port, &GPIO_InitStruct);

  /*Configure GPIO pins : LEM_OK_Pin LEM_BUSY_Pin */
  GPIO_InitStruct.Pin = LEM_OK_Pin|LEM_BUSY_Pin;
  GPIO_InitStruct.Mode = GPIO_MODE_INPUT;
  GPIO_InitStruct.Pull = GPIO_NOPULL;
  HAL_GPIO_Init(GPIOD, &GPIO_InitStruct);

  /*Configure GPIO pin : MOS_LDAC_Pin */
  GPIO_InitStruct.Pin = MOS_LDAC_Pin;
  GPIO_InitStruct.Mode = GPIO_MODE_OUTPUT_PP;
  GPIO_InitStruct.Pull = GPIO_NOPULL;
  GPIO_InitStruct.Speed = GPIO_SPEED_FREQ_LOW;
  HAL_GPIO_Init(MOS_LDAC_GPIO_Port, &GPIO_InitStruct);

  /*Configure GPIO pins : ADC_CNV_Pin L2_LEFT_Pin */
  GPIO_InitStruct.Pin = ADC_CNV_Pin|L2_LEFT_Pin;
  GPIO_InitStruct.Mode = GPIO_MODE_OUTPUT_PP;
  GPIO_InitStruct.Pull = GPIO_NOPULL;
  GPIO_InitStruct.Speed = GPIO_SPEED_FREQ_LOW;
  HAL_GPIO_Init(GPIOD, &GPIO_InitStruct);

  /*Configure GPIO pin : LD2_Pin */
  GPIO_InitStruct.Pin = LD2_Pin;
  GPIO_InitStruct.Mode = GPIO_MODE_OUTPUT_PP;
  GPIO_InitStruct.Pull = GPIO_NOPULL;
  GPIO_InitStruct.Speed = GPIO_SPEED_FREQ_VERY_HIGH;
  HAL_GPIO_Init(LD2_GPIO_Port, &GPIO_InitStruct);

}

/* USER CODE BEGIN 4 */

static inline void delay_cycles(volatile uint32_t n) {
    while (n--) {
        __NOP();
    }
}

void send_single_adc_cnv(){
	// HAL_GPIO_WritePin(ADC_CNV_GPIO_Port, ADC_CNV_Pin, GPIO_PIN_SET);
  ADC_CNV_GPIO_Port->BSRR = ADC_CNV_Pin; // Set pin high
	delay_cycles(4);
	// HAL_GPIO_WritePin(ADC_CNV_GPIO_Port, ADC_CNV_Pin, GPIO_PIN_RESET);
  ADC_CNV_GPIO_Port->BSRR = (uint32_t)ADC_CNV_Pin << 16U; // Set pin low
  delay_cycles(20);
}

void send_adc_cnvs(int n){
	for (int i =0; i<n; i++){
		send_single_adc_cnv();
	}
}

#define ADC_BUSY_TIMEOUT_LOOPS 10000U
static inline int wait_lem_ready(void){
  uint32_t cnt = 0;
  while (LEM_BUSY_GPIO_Port->IDR & LEM_BUSY_Pin){
    if (++cnt > ADC_BUSY_TIMEOUT_LOOPS){
      return 0;
    }
  }
  return 1;
}

static inline int wait_set_ready(void){
  uint32_t cnt = 0;
  while (SET_BUSY_GPIO_Port->IDR & SET_BUSY_Pin){
    if (++cnt > ADC_BUSY_TIMEOUT_LOOPS){
      return 0;
    }
  }
  return 1;
}

#define TIMEOUT_MS 10
double get_adc_lem(){
	uint32_t code = 0x000000;
	double adc_val;

  delay_cycles(5);
  // while (LEM_BUSY_GPIO_Port->IDR & LEM_BUSY_Pin) {}

  if (!wait_lem_ready()){
    return last_adc_lem; // return last value if timeout
  }

  LEM_RDL_GPIO_Port->BSRR = (uint32_t)LEM_RDL_Pin << 16U;
  if (HAL_SPI_Receive(&hspi4, (uint8_t*)spi_buf_lem, 3, 100) != HAL_OK) {
    LEM_RDL_GPIO_Port->BSRR = LEM_RDL_Pin;
    return last_adc_lem;
}
  LEM_RDL_GPIO_Port->BSRR = LEM_RDL_Pin;

	 ((uint8_t *)&code)[2] = (unsigned int)spi_buf_lem[0];
	 ((uint8_t *)&code)[1] = (unsigned int)spi_buf_lem[1];
	 ((uint8_t *)&code)[0] = (unsigned int)spi_buf_lem[2];

	adc_val = code* LSB_ADC;
	if(code >= HALF_CODE){
		adc_val -= 2*v_ref;
	}
  last_adc_lem = adc_val;
	return adc_val;
}

double get_adc_set(){

	uint32_t code = 0x000000;
	double adc_val;

  delay_cycles(3);
	if (!wait_set_ready()){
    return last_adc_set; // return last value if timeout
  }

  SET_RDL_GPIO_Port->BSRR = (uint32_t)SET_RDL_Pin << 16U;
  if (HAL_SPI_Receive(&hspi2, (uint8_t*)spi_buf_set, 3, 100) != HAL_OK) {
    SET_RDL_GPIO_Port->BSRR = SET_RDL_Pin;
    return last_adc_set;
  }
  SET_RDL_GPIO_Port->BSRR = SET_RDL_Pin;

	((uint8_t *)&code)[2] = (unsigned int)spi_buf_set[0];
	((uint8_t *)&code)[1] = (unsigned int)spi_buf_set[1];
	((uint8_t *)&code)[0] = (unsigned int)spi_buf_set[2];

	adc_val = code* LSB_ADC;
	if(code >= HALF_CODE){
		adc_val -= 2*v_ref;
	}
	last_adc_set = adc_val;
	return adc_val;
}

double get_set_V(){
	set_v = get_adc_set();
  return (set_v + par.set.offs.val) * par.set.scl.val;
}

double get_set_A(){
  return get_set_V() * par.vtoa.val;
}

double get_lem_A(){
	lem_v = get_adc_lem();
  return (lem_v + par.lem.offs.val )*par.lem.scl.val;
}

void set_dac_mos(double dac){
	uint32_t code;

	HAL_GPIO_WritePin(MOS_LDAC_GPIO_Port, MOS_LDAC_Pin, GPIO_PIN_SET);
	dac = dac/2;
	if(dac > v_ref){
		dac = v_ref;
	}else if(dac < 0.0){
		dac = 0.0;
	}
	code = round(dac/LSB_DAC);
	code = code << 4;		// 4 bits shift to left to have 24 bits

	spi_buf_mos[0] = ((uint8_t*)&code)[2];
	spi_buf_mos[1] = ((uint8_t*)&code)[1];
	spi_buf_mos[2] = ((uint8_t*)&code)[0];

	HAL_GPIO_WritePin(MOS_CS_GPIO_Port, MOS_CS_Pin, GPIO_PIN_RESET);
	HAL_SPI_Transmit(&hspi5, (uint8_t*)&spi_buf_mos, 3, 100);
	HAL_GPIO_WritePin(MOS_CS_GPIO_Port, MOS_CS_Pin, GPIO_PIN_SET);

	// update output
  delay_cycles(6);
	HAL_GPIO_WritePin(MOS_LDAC_GPIO_Port, MOS_LDAC_Pin, GPIO_PIN_RESET);
}

void update_direction_from_ttl_if_safe(void)
{
    set_dir = (HAL_GPIO_ReadPin(DIR_L2_GPIO_Port, DIR_L2_Pin) == GPIO_PIN_SET) ? 1 : -1;
    setParam(&par.dirttl, set_dir);

    if (lem_A < par.dst.val) {
        setParam(&par.dir, set_dir);

        if (set_dir > 0) {
            L2_LEFT_GPIO_Port->BSRR = (uint32_t)L2_LEFT_Pin << 16U;
            L2_RIGHT_GPIO_Port->BSRR = (uint32_t)L2_RIGHT_Pin;
        } else {
            L2_LEFT_GPIO_Port->BSRR = (uint32_t)L2_LEFT_Pin;
            L2_RIGHT_GPIO_Port->BSRR = (uint32_t)L2_RIGHT_Pin << 16U;
        }
    }
}

#define GT_SMOOTH_ALPHA 0.1

void adapt_g_tab(int idx, double delta_vg)
{
    if (idx < 0 || idx >= GTAB_SIZE - 1) {
        return;
    }

    double alpha = par.gt.alpha.val;
    double corr = alpha * delta_vg;

    g_tab[idx]     += corr;
    g_tab[idx + 1] += corr;

    if (g_tab[idx] < 0.0) {
        g_tab[idx] = 0.0;
    }
    if (g_tab[idx] > 5.0) {
        g_tab[idx] = 5.0;
    }

    if (g_tab[idx + 1] < 0.0) {
        g_tab[idx + 1] = 0.0;
    }
    if (g_tab[idx + 1] > 5.0) {
        g_tab[idx + 1] = 5.0;
    }

    if (g_tab[idx + 1] < g_tab[idx]) {
        double mid = 0.5 * (g_tab[idx] + g_tab[idx + 1]);
        g_tab[idx]     = mid;
        g_tab[idx + 1] = mid;
    }

    if (idx > 0 && g_tab[idx - 1] > g_tab[idx]) {
        g_tab[idx - 1] += GT_SMOOTH_ALPHA * (g_tab[idx] - g_tab[idx - 1]);
    }

    if (idx + 2 < GTAB_SIZE && g_tab[idx + 2] < g_tab[idx + 1]) {
        g_tab[idx + 2] += GT_SMOOTH_ALPHA * (g_tab[idx + 1] - g_tab[idx + 2]);
    }

    if (idx > 0) {
        if (g_tab[idx - 1] < 0.0) {
            g_tab[idx - 1] = 0.0;
        }
        if (g_tab[idx - 1] > 5.0) {
            g_tab[idx - 1] = 5.0;
        }
    }

    if (idx + 2 < GTAB_SIZE) {
        if (g_tab[idx + 2] < 0.0) {
            g_tab[idx + 2] = 0.0;
        }
        if (g_tab[idx + 2] > 5.0) {
            g_tab[idx + 2] = 5.0;
        }
    }
}

/* USER CODE END 4 */

/* MPU Configuration */

void MPU_Config(void)
{
  MPU_Region_InitTypeDef MPU_InitStruct = {0};

  /* Disables the MPU */
  HAL_MPU_Disable();
  /** Initializes and configures the Region and the memory to be protected
  */
  MPU_InitStruct.Enable = MPU_REGION_ENABLE;
  MPU_InitStruct.Number = MPU_REGION_NUMBER0;
  MPU_InitStruct.BaseAddress = 0x30040000;
  MPU_InitStruct.Size = MPU_REGION_SIZE_256B;
  MPU_InitStruct.SubRegionDisable = 0x0;
  MPU_InitStruct.TypeExtField = MPU_TEX_LEVEL0;
  MPU_InitStruct.AccessPermission = MPU_REGION_FULL_ACCESS;
  MPU_InitStruct.DisableExec = MPU_INSTRUCTION_ACCESS_ENABLE;
  MPU_InitStruct.IsShareable = MPU_ACCESS_NOT_SHAREABLE;
  MPU_InitStruct.IsCacheable = MPU_ACCESS_NOT_CACHEABLE;
  MPU_InitStruct.IsBufferable = MPU_ACCESS_BUFFERABLE;

  HAL_MPU_ConfigRegion(&MPU_InitStruct);
  /** Initializes and configures the Region and the memory to be protected
  */
  MPU_InitStruct.Number = MPU_REGION_NUMBER1;
  MPU_InitStruct.BaseAddress = 0x30044000;
  MPU_InitStruct.Size = MPU_REGION_SIZE_16KB;
  MPU_InitStruct.TypeExtField = MPU_TEX_LEVEL1;
  MPU_InitStruct.IsShareable = MPU_ACCESS_SHAREABLE;
  MPU_InitStruct.IsBufferable = MPU_ACCESS_NOT_BUFFERABLE;

  HAL_MPU_ConfigRegion(&MPU_InitStruct);
  /* Enables the MPU */
  HAL_MPU_Enable(MPU_PRIVILEGED_DEFAULT);

}

void HAL_TIM_PeriodElapsedCallback(TIM_HandleTypeDef *htim)
{
  if (htim->Instance == TIM6) {
    HAL_IncTick();
  }
  /* USER CODE BEGIN Callback 1 */
  if (htim->Instance == TIM7) {
    LD1_GPIO_Port->BSRR = LD1_Pin;

    if (par.calib.val > 0.1){
      if (par.calib.val < 1.5){  //calib 1
        // gate calibration - init state
        calib_cycles_cnt = 0;
        calib_i_cnt = 0;
        par.cur.val = 0;
        par.mode.val = 2;
        par.calib.val = 2;
      }
      if (par.calib.val > 1.5 && par.calib.val < 2.5){  //calib 2
        // gate calibration - increase current
        if (calib_cycles_cnt > par.cpcal.val){
          calib_cycles_cnt = 0;
          //save results to g_tab
          double vg_to_save = par.vg.val;
          int idx = (int)round(calib_i_cnt*10.0);
          if (vg_to_save < par.goff.val){
            vg_to_save = par.goff.val;
          }
          g_tab[idx] = vg_to_save;
          //set next value
          calib_i_cnt += 0.1;
          if (par.cur.val > par.imax.val){
            par.calib.val = 3;
          }
          par.cur.val = calib_i_cnt;
        }
      }
      if (par.calib.val > 2.5 && par.calib.val < 3.5){  //calib 3
        // gate calibration - decrease current
        if (calib_cycles_cnt > par.cpcal.val/2){
          calib_cycles_cnt = 0;
          calib_i_cnt -= 0.1;
          par.cur.val = calib_i_cnt;
          if (par.cur.val <= 0){
            par.cur.val = 0;
            par.mode.val = 0;
            par.calib.val = 0;
            // save g_tab to flash
            Flash_Write_Array(FLASH_GTAB_START_ADDR, g_tab, GTAB_SIZE);
            // save some values to control parameters
          }
        }
      }
      if (par.calib.val > 3.5 && par.calib.val < 4.5){  // calib 4
        // lem zero current callibration
        mode_tmp = par.mode.val;
        par.mode.val = 0;
        double acc = 0;
        for (int i=0; i<100; i++){
          send_adc_cnvs(par.cnvs.val);
          acc += get_lem_A();
        }
        acc = -acc / 100.0;

        // par.lem.offs.val = 1;
        par.lem.offs.val += acc / par.lem.scl.val;
        par.calib.val = 0;
        par.mode.val = mode_tmp; // restore mode
      }
      calib_cycles_cnt++;
    }

    int gt_idx = (int)round(par.gt.idx.val);
    if (gt_idx < 0) gt_idx = 0;
    if (gt_idx >= GTAB_SIZE) gt_idx = GTAB_SIZE - 1;

    if (par.gt.save.val > 0.1){
        g_tab[gt_idx] = par.gt.v.val;
        par.gt.save.val = 0;
    } else {
        setParam(&par.gt.v, g_tab[gt_idx]);
    }
    if (par.gt.sflash.val > 0.1){
        Flash_Write_Array(FLASH_GTAB_START_ADDR, g_tab, GTAB_SIZE);
        par.gt.sflash.val = 0;
    }

	  if (par.mode.val == 0) { // switch off current and reset pi values
      send_adc_cnvs(par.cnvs.val);
      lem_A = get_lem_A();
		  par.lem.ma.val = lem_A;
			par.set.ma.val = get_set_A();
		  set_dac_mos(0);
		  err = 0;
		  setParam(&par.acc_err, 0);

      update_direction_from_ttl_if_safe();

	  }
	  else if (par.mode.val == 1 || par.mode.val == 2) {

      // measure current
      send_adc_cnvs(par.cnvs.val);
		  lem_A = get_lem_A();

      // get set current
      if (par.mode.val == 1){
			  in_set_v = get_set_V();
			  set_A = in_set_v*par.vtoa.val; // 1A_lem = 0.1V_set
        if (set_A < par.itra.val){
          set_A = 0;
        }
        if (HAL_GPIO_ReadPin(ON_100A_GPIO_Port, ON_100A_Pin) == GPIO_PIN_SET){
          set_A = 0;
          setParam(&par.onttl, 0);
		    }
        else{
          setParam(&par.onttl, 1);
        }
      }
		  if (par.mode.val == 2){
			  set_A = par.cur.val;
		  }

      update_direction_from_ttl_if_safe();

      // check if set current is in the same direction as measured current
      // if not, set set_A to 0
      set_A = (set_dir == par.dir.val) ? fabs(set_A) : 0;

		  par.set.ma.val = in_set_v*par.vtoa.val;
		  par.lem.ma.val = lem_A;

      // check if new set_A value
      if (fabs(last_set_A - set_A) > par.pid.cta.val){
        is_new_set_A = 1;
        if (par.calib.val < 0.1){
          setParam(&par.acc_err, 0);
        }
      }
      else{
        is_new_set_A = 0;
      }
		  last_set_A = set_A;

		  //increase gain I if lower current (because of gate characteristics of transistor)
		  I = par.pid.i.val;

		  // current change limit for smooth current changes
		  if ( tmp_set_A > (set_A + par.ermax.val) ){
			  tmp_set_A = tmp_set_A - par.ermax.val;
        if (par.calib.val < 0.1){
          setParam(&par.acc_err, 0);
        }
		  }
		  else if ( tmp_set_A < (set_A - par.ermax.val) ){
			  tmp_set_A = tmp_set_A + par.ermax.val;
        if (par.calib.val < 0.1){
          setParam(&par.acc_err, 0);
        }
		  }
      else{
        tmp_set_A = set_A;
      }

      err = lem_A - tmp_set_A;

      // calculate v_gate voltage based on g_tab
      int int_set_Ax10;
      double frac_set_A;
      double vgs_slope;
      int_set_Ax10 = (int)(tmp_set_A*10);
      if (int_set_Ax10 < 0){
        int_set_Ax10 = 0;
      }
      if (int_set_Ax10 >= GTAB_SIZE-1){
        int_set_Ax10 = GTAB_SIZE-2;
      }

      frac_set_A = tmp_set_A*10 - int_set_Ax10;
      if ( g_tab[int_set_Ax10] >0 && g_tab[int_set_Ax10+1] >0 ){
        // local slope of gate-current characteristic
        vgs_slope = (g_tab[int_set_Ax10+1]-g_tab[int_set_Ax10]);
        setParam(&par.pid.slp, vgs_slope);
        // linear interpolation between table points
        vgs = g_tab[int_set_Ax10] + frac_set_A*vgs_slope;
        if (is_last_gtab_zero == 1){
          setParam(&par.acc_err, 0);
        }
        is_last_gtab_zero = 0;
      }else{
        if (is_new_set_A == 1){
          fixed_pid_out = pid_out;
        }
        vgs = fixed_pid_out;
        setParam(&par.pid.slp, 0);
        is_last_gtab_zero = 1;
      }

      if (tmp_set_A > 0.1 && vgs < par.goff.val) {
        vgs = par.goff.val;
      }

      I = par.pid.i.val + par.pid.is.val * par.pid.slp.val;
      if(I > par.pid.i.max) I = par.pid.i.max;
      if(I < par.pid.i.min) I = par.pid.i.min;

      // par.rI.val = I;
      setParam(&par.rI, I);

      pid_out = vgs + par.acc_err.val*I;

      setParam(&par.vg, pid_out);

		  set_dac_mos(pid_out);

      // adaptive update of g_tab, RAM only
      double delta_vg = pid_out - vgs;

      if (par.gt.adapt.val > 0.5 &&
          par.calib.val < 0.1 &&
          tmp_set_A > 0.1 &&
          fabs(set_A - tmp_set_A) < 0.02 &&
          fabs(err) < par.gt.errmax.val &&
          fabs(delta_vg) < par.gt.dvgmax.val &&
          pid_out > par.goff.val &&
          pid_out < 4.98) {

          adapt_g_tab(int_set_Ax10, delta_vg);
      }

      setParam(&par.acc_err, par.acc_err.val + err);
	  }

    else if (par.mode.val == 3) {  // set gate voltage manually

      send_adc_cnvs(par.cnvs.val);
		  lem_A = get_lem_A();
      par.lem.ma.val = lem_A;
      par.set.ma.val = get_set_A();

      update_direction_from_ttl_if_safe();

		  set_dac_mos(par.vg.val);
	  }

    LD1_GPIO_Port->BSRR = (uint32_t)LD1_Pin << 16U;
    }
  /* USER CODE END Callback 1 */
}

void Error_Handler(void)
{
  __disable_irq();
  while (1)
  {
  }
}
